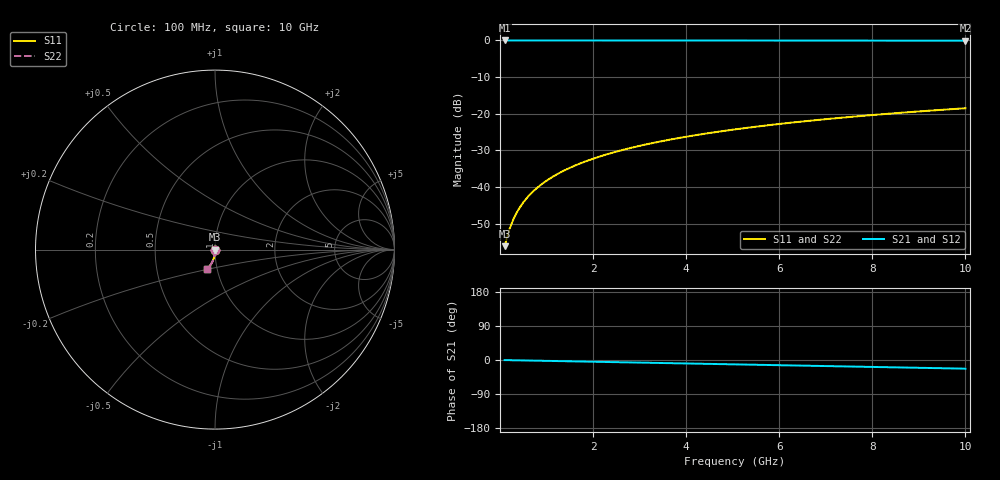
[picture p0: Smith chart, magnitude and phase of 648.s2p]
# Hz S RI R 50.00
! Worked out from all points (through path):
!   100 points, 100 MHz to 10 GHz, reference 50 ohm
!   highest |S21| = -0.01 dB at 100 MHz (marker M1); lowest = -0.1 dB at 10 GHz (marker M2)
!   group delay of S21, straight-line fit = 6.35 ps
!   lowest |S11| = -56.1 dB at 100 MHz (marker M3), VSWR 1.00, Z = 50.1 - j0.122 ohm
!   |S11| at or under -10 dB: start of sweep to end of sweep
!   |S22| runs from -56.1 to -18.5 dB; largest |S21 - S12| = 0
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1e8  0.000979 -0.00122  0.999 -0.00398  0.999 -0.00398  0.000979 -0.00122
2e8  0.000969 -0.00244  0.999 -0.00797  0.999 -0.00797  0.000969 -0.00244
3e8  0.000947 -0.00367  0.9989 -0.012  0.9989 -0.012  0.000947 -0.00367
4e8  0.000914 -0.00489  0.9988 -0.0159  0.9988 -0.0159  0.000914 -0.00489
5e8  0.000871 -0.00611  0.9988 -0.0199  0.9988 -0.0199  0.000871 -0.00611
6e8  0.000818 -0.00733  0.9987 -0.0239  0.9987 -0.0239  0.000818 -0.00733
7e8  0.000755 -0.00855  0.9985 -0.0279  0.9985 -0.0279  0.000755 -0.00855
8e8  0.000683 -0.00977  0.9984 -0.0319  0.9984 -0.0319  0.000683 -0.00977
9e8  0.0006 -0.011  0.9983 -0.0358  0.9983 -0.0358  0.0006 -0.011
1.1e9  0.000405 -0.0134  0.9979 -0.0438  0.9979 -0.0438  0.000405 -0.0134
1.4e9  3.86e-05 -0.0171  0.9972 -0.0557  0.9972 -0.0557  3.86e-05 -0.0171
1.8e9  -0.000586 -0.0219  0.9961 -0.0716  0.9961 -0.0716  -0.000586 -0.0219
2.1e9  -0.00116 -0.0256  0.9951 -0.0836  0.9951 -0.0836  -0.00116 -0.0256
2.5e9  -0.00205 -0.0304  0.9935 -0.0994  0.9935 -0.0994  -0.00205 -0.0304
2.9e9  -0.0031 -0.0352  0.9916 -0.1152  0.9916 -0.1152  -0.0031 -0.0352
3.4e9  -0.00463 -0.0411  0.9888 -0.135  0.9888 -0.135  -0.00463 -0.0411
4.2e9  -0.00756 -0.0505  0.9835 -0.1664  0.9835 -0.1664  -0.00756 -0.0505
5.1e9  -0.0116 -0.0607  0.9763 -0.2015  0.9763 -0.2015  -0.0116 -0.0607
5.9e9  -0.0157 -0.0696  0.9687 -0.2324  0.9687 -0.2324  -0.0157 -0.0696
6.7e9  -0.0205 -0.0782  0.9601 -0.263  0.9601 -0.263  -0.0205 -0.0782
8.4e9  -0.0323 -0.0954  0.9383 -0.3268  0.9383 -0.3268  -0.0323 -0.0954
1e10  -0.0454 -0.1099  0.9136 -0.3851  0.9136 -0.3851  -0.0454 -0.1099
